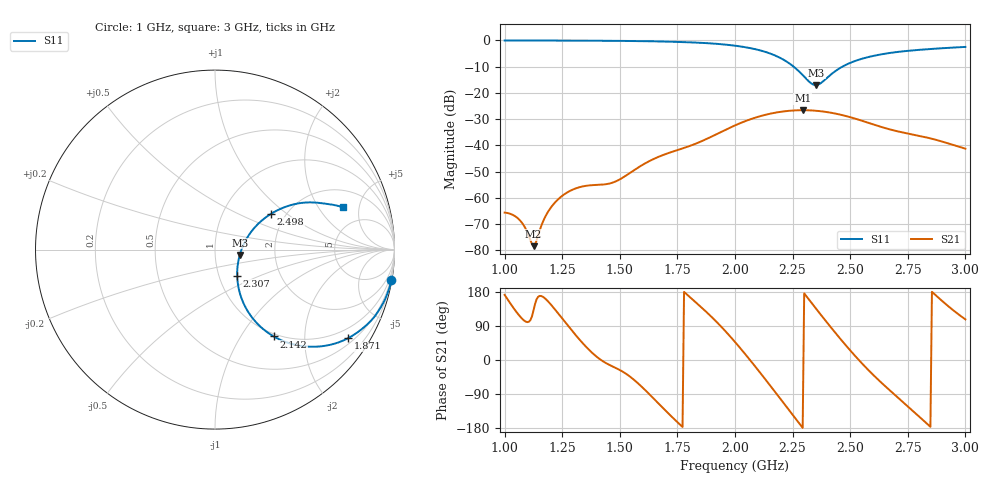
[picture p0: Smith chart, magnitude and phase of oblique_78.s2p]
! TOUCHSTONE file generated by CST MICROWAVE STUDIO
! Date and time: Tue Mar 18 00:01:34 2025
! Project name: oblique.cst
! Parameters = {Tilt=30; Fracture=1; B=12.5; D=160; F=15; Feed=2.85625; L=100; M=30; R=0.384908; S=1; Theta=270; length=57.125; wave=114.25}
! Header version: 2024
! Port assignment regex: !\s*Touchstone port\s*([0-9]+)\s*=\s*(CST MWS port|CST DES external port|CST DES block port)\s*(.+)\s* \(\"(.*)\"\)(\s*mode\s*([0-9]+))?.*
! Touchstone port assignment:
! Touchstone port 1 = CST MWS port 1 ("")
! Touchstone port 2 = CST MWS port 2 ("")
# GHz S DB R 50
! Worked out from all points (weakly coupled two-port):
!   304 points, 1 GHz to 3 GHz, reference 50 ohm
!   highest |S21| = -26.59 dB at 2.294 GHz (marker M1); lowest = -78.4 dB at 1.125 GHz (marker M2)
!   lowest |S11| = -17.0 dB at 2.353 GHz (marker M3), VSWR 1.33, Z = 65.9 - j3.96 ohm
!   |S11| at or under -10 dB: 2.254 GHz to 2.466 GHz (211.7 MHz wide, 8.97 % of centre)
!   S12 and S22 are empty: the file has one direction only
!   S11 on the Smith chart (normalised r, x): 1 GHz: 0, -12; 1.871 GHz: 0.67, -3.17; 2.142 GHz: 0.96, -1.41; 2.307 GHz: 1.22, -0.37; 2.498 GHz: 1.68, +0.78; 3 GHz: 3.16, +3.42
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1  -0.02 -9.8  -65.59 172.0  -200.00 0.0  -200.00 0.0
1.0396  -0.03 -10.3  -66.67 136.4  -200.00 0.0  -200.00 0.0
1.07261  -0.03 -10.8  -69.17 111.1  -200.00 0.0  -200.00 0.0
1.12541  -0.04 -11.6  -78.39 130.7  -200.00 0.0  -200.00 0.0
1.13201  -0.04 -11.7  -77.82 147.6  -200.00 0.0  -200.00 0.0
1.17162  -0.05 -12.3  -68.05 164.4  -200.00 0.0  -200.00 0.0
1.21122  -0.06 -12.9  -62.49 138.9  -200.00 0.0  -200.00 0.0
1.27063  -0.07 -14.0  -57.98 93.8  -200.00 0.0  -200.00 0.0
1.33663  -0.09 -15.2  -55.67 45.9  -200.00 0.0  -200.00 0.0
1.47525  -0.17 -18.3  -53.98 -19.0  -200.00 0.0  -200.00 0.0
1.66667  -0.38 -24.2  -44.41 -114.0  -200.00 0.0  -200.00 0.0
1.87129  -1.01 -33.8  -37.77 129.3  -200.00 0.0  -200.00 0.0
2.0033  -2.05 -43.2  -32.25 45.3  -200.00 0.0  -200.00 0.0
2.14191  -4.67 -55.9  -28.13 -59.0  -200.00 0.0  -200.00 0.0
2.22112  -7.91 -61.9  -26.94 -121.5  -200.00 0.0  -200.00 0.0
2.29373  -13.21 -54.8  -26.59 -179.1  -200.00 0.0  -200.00 0.0
2.30693  -14.42 -49.4  -26.60 170.5  -200.00 0.0  -200.00 0.0
2.33993  -16.83 -25.1  -26.73 144.7  -200.00 0.0  -200.00 0.0
2.35314  -17.01 -12.1  -26.82 134.4  -200.00 0.0  -200.00 0.0
2.49835  -8.62 32.6  -29.21 26.5  -200.00 0.0  -200.00 0.0
2.66997  -4.81 27.2  -33.85 -79.0  -200.00 0.0  -200.00 0.0
3  -2.49 18.3  -41.25 107.2  -200.00 0.0  -200.00 0.0
